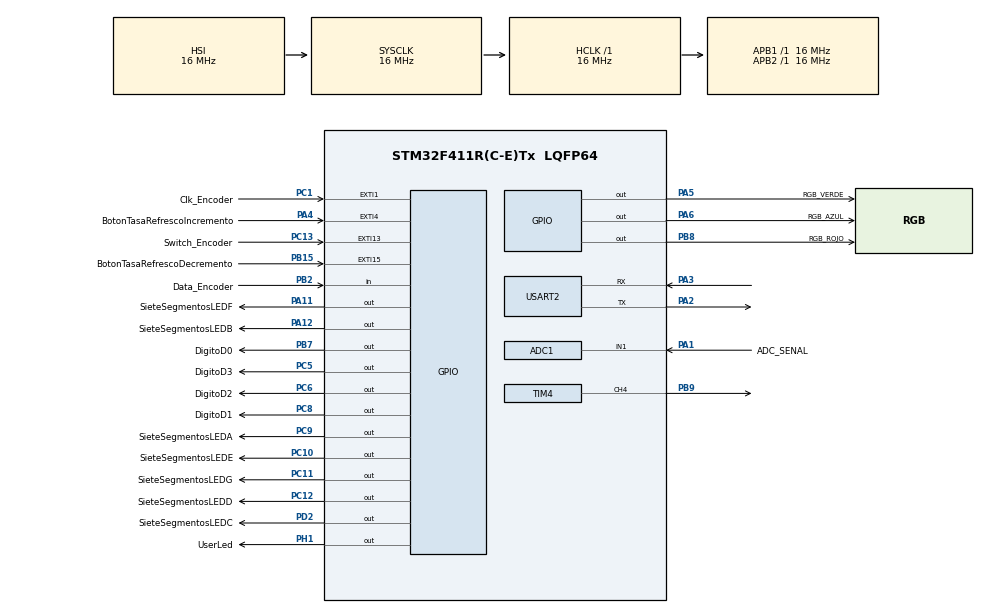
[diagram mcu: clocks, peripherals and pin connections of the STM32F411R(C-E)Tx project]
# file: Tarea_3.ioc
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ADC1.Channel-0\#ChannelRegularConversion=ADC_CHANNEL_1
ADC1.ClockPrescaler=ADC_CLOCK_SYNC_PCLK_DIV2
ADC1.ContinuousConvMode=DISABLE
ADC1.DMAContinuousRequests=ENABLE
ADC1.ExternalTrigConv=ADC_EXTERNALTRIGCONV_T4_CC4
ADC1.ExternalTrigConvEdge=ADC_EXTERNALTRIGCONVEDGE_RISINGFALLING
ADC1.NbrOfConversionFlag=1
ADC1.Rank-0\#ChannelRegularConversion=1
ADC1.SamplingTime-0\#ChannelRegularConversion=ADC_SAMPLETIME_3CYCLES
ADC1.master=1
Dma.ADC1.2.Direction=DMA_PERIPH_TO_MEMORY
Dma.ADC1.2.FIFOMode=DMA_FIFOMODE_DISABLE
Dma.ADC1.2.Instance=DMA2_Stream0
Dma.ADC1.2.MemDataAlignment=DMA_MDATAALIGN_HALFWORD
Dma.ADC1.2.MemInc=DMA_MINC_ENABLE
Dma.ADC1.2.Mode=DMA_CIRCULAR
Dma.ADC1.2.PeriphDataAlignment=DMA_PDATAALIGN_HALFWORD
Dma.ADC1.2.PeriphInc=DMA_PINC_DISABLE
Dma.ADC1.2.Priority=DMA_PRIORITY_LOW
Dma.Request0=USART2_RX
Dma.Request1=USART2_TX
Dma.Request2=ADC1
Dma.USART2_RX.0.Direction=DMA_PERIPH_TO_MEMORY
Dma.USART2_RX.0.FIFOMode=DMA_FIFOMODE_DISABLE
Dma.USART2_RX.0.Instance=DMA1_Stream5
Dma.USART2_RX.0.MemDataAlignment=DMA_MDATAALIGN_BYTE
Dma.USART2_RX.0.MemInc=DMA_MINC_ENABLE
Dma.USART2_RX.0.Mode=DMA_NORMAL
Dma.USART2_RX.0.PeriphDataAlignment=DMA_PDATAALIGN_BYTE
Dma.USART2_RX.0.PeriphInc=DMA_PINC_DISABLE
Dma.USART2_RX.0.Priority=DMA_PRIORITY_LOW
Dma.USART2_TX.1.Direction=DMA_MEMORY_TO_PERIPH
Dma.USART2_TX.1.FIFOMode=DMA_FIFOMODE_DISABLE
Dma.USART2_TX.1.Instance=DMA1_Stream6
Dma.USART2_TX.1.MemDataAlignment=DMA_MDATAALIGN_BYTE
Dma.USART2_TX.1.MemInc=DMA_MINC_ENABLE
Dma.USART2_TX.1.Mode=DMA_NORMAL
Dma.USART2_TX.1.PeriphDataAlignment=DMA_PDATAALIGN_BYTE
Dma.USART2_TX.1.PeriphInc=DMA_PINC_DISABLE
Dma.USART2_TX.1.Priority=DMA_PRIORITY_LOW
Mcu.Family=STM32F4
Mcu.Name=STM32F411R(C-E)Tx
Mcu.Package=LQFP64
NVIC.DMA1_Stream5_IRQn=true\:0\:0\:false\:false\:true\:false\:true\:true
NVIC.DMA1_Stream6_IRQn=true\:0\:0\:false\:false\:true\:false\:true\:true
NVIC.DMA2_Stream0_IRQn=true\:0\:0\:false\:false\:true\:false\:true\:true
NVIC.EXTI15_10_IRQn=true\:0\:0\:false\:false\:true\:true\:true\:true
NVIC.EXTI1_IRQn=true\:0\:0\:false\:false\:true\:true\:true\:true
NVIC.EXTI4_IRQn=true\:0\:0\:false\:false\:true\:true\:true\:true
NVIC.PriorityGroup=NVIC_PRIORITYGROUP_0
NVIC.TIM2_IRQn=true\:0\:0\:false\:false\:true\:true\:true\:true
NVIC.TIM3_IRQn=true\:0\:0\:false\:false\:true\:true\:true\:true
NVIC.USART2_IRQn=true\:0\:0\:false\:false\:true\:true\:true\:true
PA1.GPIO_Label=ADC_SENAL
PA1.Signal=ADCx_IN1
PA11.GPIO_Label=SieteSegmentosLEDF
PA11.Signal=GPIO_Output
PA12.GPIO_Label=SieteSegmentosLEDB
PA12.Signal=GPIO_Output
PA13.GPIO_Label=TMS
PA13.Mode=Serial_Wire
PA13.Signal=SYS_JTMS-SWDIO
PA14.GPIO_Label=TCK
PA14.Mode=Serial_Wire
PA14.Signal=SYS_JTCK-SWCLK
PA2.GPIO_ModeDefaultPP=GPIO_MODE_AF_PP
PA2.GPIO_PuPd=GPIO_NOPULL
PA2.GPIO_Speed=GPIO_SPEED_FREQ_VERY_HIGH
PA2.Mode=Asynchronous
PA2.Signal=USART2_TX
PA3.GPIO_ModeDefaultPP=GPIO_MODE_AF_PP
PA3.GPIO_PuPd=GPIO_NOPULL
PA3.GPIO_Speed=GPIO_SPEED_FREQ_VERY_HIGH
PA3.Mode=Asynchronous
PA3.Signal=USART2_RX
PA4.GPIO_Label=BotonTasaRefrescoIncremento
PA4.GPIO_ModeDefaultEXTI=GPIO_MODE_IT_FALLING
PA4.Signal=GPXTI4
PA5.GPIO_Label=RGB_VERDE
PA5.Signal=GPIO_Output
PA6.GPIO_Label=RGB_AZUL
PA6.GPIO_Speed=GPIO_SPEED_FREQ_MEDIUM
PA6.Signal=GPIO_Output
PB15.GPIO_Label=BotonTasaRefrescoDecremento
PB15.GPIO_ModeDefaultEXTI=GPIO_MODE_IT_FALLING
PB15.Signal=GPXTI15
PB2.GPIO_Label=Data_Encoder
PB2.Signal=GPIO_Input
PB3.GPIO_Label=SWO
PB3.Signal=SYS_JTDO-SWO
PB7.GPIO_Label=DigitoD0
PB7.Signal=GPIO_Output
PB8.GPIO_Label=RGB_ROJO
PB8.Signal=GPIO_Output
PB9.Signal=S_TIM4_CH4
PC1.GPIO_Label=Clk_Encoder
PC1.Signal=GPXTI1
PC10.GPIO_Label=SieteSegmentosLEDE
PC10.Signal=GPIO_Output
PC11.GPIO_Label=SieteSegmentosLEDG
PC11.Signal=GPIO_Output
PC12.GPIO_Label=SieteSegmentosLEDD
PC12.Signal=GPIO_Output
PC13-ANTI_TAMP.GPIO_Label=Switch_Encoder
PC13-ANTI_TAMP.Signal=GPXTI13
PC5.GPIO_Label=DigitoD3
PC5.Signal=GPIO_Output
PC6.GPIO_Label=DigitoD2
PC6.Signal=GPIO_Output
PC8.GPIO_Label=DigitoD1
PC8.Signal=GPIO_Output
PC9.GPIO_Label=SieteSegmentosLEDA
PC9.Signal=GPIO_Output
PD2.GPIO_Label=SieteSegmentosLEDC
PD2.Signal=GPIO_Output
PH1\ -\ OSC_OUT.GPIO_Label=UserLed
PH1\ -\ OSC_OUT.Signal=GPIO_Output
ProjectManager.HeapSize=0x200
ProjectManager.StackSize=0x400
ProjectManager.TargetToolchain=STM32CubeIDE
RCC.AHBFreq_Value=16000000
RCC.APB1Freq_Value=16000000
RCC.APB2Freq_Value=16000000
RCC.CortexFreq_Value=16000000
RCC.HSE_VALUE=25000000
RCC.HSI_VALUE=16000000
RCC.LSE_VALUE=32768
RCC.SYSCLKFreq_VALUE=16000000
RCC.VCOOutputFreq_Value=192000000
SH.ADCx_IN1.0=ADC1_IN1,IN1
SH.S_TIM4_CH4.0=TIM4_CH4,Output Compare4 CH4
TIM2.Period=250-1
TIM2.Prescaler=16000-1
TIM3.Period=5-1
TIM3.Prescaler=16000-1
TIM4.Channel-Output\ Compare4\ CH4=TIM_CHANNEL_4
TIM4.OC4Preload=ENABLE
TIM4.OCMode_4=TIM_OCMODE_TOGGLE
TIM4.Period=363-1
TIM4.Prescaler=0
TIM4.Pulse-Output\ Compare4\ CH4=1
TIM4.TIM_MasterOutputTrigger=TIM_TRGO_OC4REF
USART2.Parity=PARITY_NONE
USART2.VirtualMode=VM_ASYNC
VP_TIM2_VS_ClockSourceINT.Mode=Internal
VP_TIM3_VS_ClockSourceINT.Mode=Internal
VP_TIM4_VS_ClockSourceINT.Mode=Internal
board=NUCLEO-F411RE

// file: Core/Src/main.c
/* USER CODE BEGIN Header */
/**
  ******************************************************************************
  * @file           : main.c
  * @brief          : Main program body
  ******************************************************************************
  * @attention
  *
  * Copyright (c) 2025 STMicroelectronics.
  * All rights reserved.
  *
  * This software is licensed under terms that can be found in the LICENSE file
  * in the root directory of this software component.
  * If no LICENSE file comes with this software, it is provided AS-IS.
  *
  ******************************************************************************
  */
/* USER CODE END Header */
#include "main.h"

/* USER CODE BEGIN Includes */
#include "stdint.h"
#include "string.h"
#include "stdio.h"
#include <stdlib.h>
#define ARM_MATH_CM4	//Definimos esto porque estamos usando el núcleo ARM-Cortex M4
#include "arm_math.h"
#include "stm32f4xx_hal.h"
#include "arm_const_structs.h"
#include "arm_common_tables.h"
/* USER CODE END Includes */

ADC_HandleTypeDef hadc1;
DMA_HandleTypeDef hdma_adc1;

TIM_HandleTypeDef htim2;
TIM_HandleTypeDef htim3;
TIM_HandleTypeDef htim4;

UART_HandleTypeDef huart2;
DMA_HandleTypeDef hdma_usart2_rx;
DMA_HandleTypeDef hdma_usart2_tx;

/* USER CODE BEGIN PV */
State_t Current_State = STATE_REFRESH; 	// Se fija el estado por defecto
RGB_Color_t Current_Color = 0;	//Se fija el estado inicial del LED RGB
uint8_t secuencia_Color = 0; 	//Variable que lleva el contador de la secuencia del LED RGB

// Se define una secuencia de colores para el LED RGB
const uint8_t secuencia_RGB[] = {
	0b0000,											// APAGADO
    RGB_RED_MASK,                  					// ROJO
    RGB_GREEN_MASK,               					// VERDE
    RGB_BLUE_MASK,                					// AZUL
    RGB_BLUE_MASK | RGB_GREEN_MASK,  				// AZUL-VERDE
    RGB_BLUE_MASK | RGB_RED_MASK,    				// AZUL-ROJO
    RGB_RED_MASK  | RGB_GREEN_MASK,  				// ROJO-VERDE
    RGB_RED_MASK  | RGB_GREEN_MASK | RGB_BLUE_MASK 	// ROJO-VERDE-AZUL
};

//Variable que lleva el contador completo del taxímetro
uint16_t contador_Taximetro = 0;
//Variable que lleva el dato del dígito que se enciende en el taxímetro
uint8_t digito = 0;
//Se inicializa una variable que lleva el tiempo en ms que ha pasado desde el inicio
uint32_t contador_Tiempo = 0;

//Variables auxiliares para llevar los digitos que se deben mostrar en el taxímetro
uint8_t miles_contador_Taximetro 	= 0;
uint8_t centenas_contador_Taximetro = 0;
uint8_t decenas_contador_Taximetro 	= 0;
uint8_t unidades_contador_Taximetro = 0;

//Variables auxiliares para la comunciación USART
uint16_t rx_buffer_length = 64;
uint8_t rx_Buffer_A[RX_BUFFER_MAX_LENGTH]; // Buffer de recepción A
uint8_t rx_Buffer_B[RX_BUFFER_MAX_LENGTH]; // Buffer de recepción B

volatile Paquete_Datos paquete_listo = {.buffer = NULL, .size = 0};
volatile BufferActivo buffer_activo_DMA = BUFFER_A;
uint8_t*  rx_buffer;
uint16_t  rx_size;

 uint16_t ADC_Buffer [ADC_BUFFER_MAX_LENGTH]; // Array para almacenar los valores del ADC, provenientes del DMA
ADC_Sampling_Freq_t ARR_timer_4 = LOW;
float32_t ADC_Float_Buffer [ADC_BUFFER_MAX_LENGTH]; 	// Array para almacenar los valores del ADC hechos float
float32_t FFT_Buffer		[ADC_BUFFER_MAX_LENGTH]; 	//Buffer para el output de la FFT
float32_t FFT_Magnitudes 	[ADC_BUFFER_MAX_LENGTH/2];	//Buffer para las magnitudes de la FFT
arm_rfft_fast_instance_f32 rfft_instance; 						//Se crea una instancia que es requerida por la función RFFT
uint16_t fft_Length = ADC_BUFFER_MAX_LENGTH;					//Tamaño de la FFT que se va a realizar, 2048 por defecto
uint8_t esta_activo_ADC = 0;									//Variable auxiliar para saber si el ADC está prendio' o no
uint16_t longitud_ADC = 2048;									//Variable para llevar rastro del tamaño del ADC

//Le asignamos a una variable el mensaje de help, tipo static porque pues, no lo vamos a modificar nunca
static const char help_msg[] =
    "Opciones:\r\n"
    "1.  Toogle LED RGB (RED, BLUE, GREEN):          RGB <color>\r\n"
    "2.  Configurar periodo del Blinky:              Config_Blinky_Period <Period (ms)>\r\n"
    "3.  Configurar tiempo de muestreo:              Config_ADC_Sampling_Freq <Velocidad>\r\n"
	"Velocidad: LOW = 44.1 KHz , MEDIUM = 48 KHz, HIGH = 96 KHz, ULTRA = 128 KHz\r\n"
	"4.  Iniciar ADC:                                Start_ADC\r\n"
	"5.  Detener ADC:                                Stop_ADC\r\n"
	"6.  Imprimir señal ADC (raw):                   Print_ADC\r\n"
    "7.  Configurar tamaño de la FFT:                Config_FFT_Size\r\n"
    "8.  Imprimir espectro FFT:                      Print_FFT\r\n"
    "9.  Imprimir configuración del equipo:          Print_Config\r\n"
    "10. Imprimir valores clave de la FFT:           Print_FFT_Features\r\n";

/* USER CODE END PV */

void SystemClock_Config(void);
static void MX_GPIO_Init(void);
static void MX_DMA_Init(void);
static void MX_USART2_UART_Init(void);
static void MX_TIM2_Init(void);
static void MX_TIM3_Init(void);
static void MX_ADC1_Init(void);
static void MX_TIM4_Init(void);
/* USER CODE BEGIN PFP */
void printHelp(void);
void FSM_update(State_t State);
void start_adc(void);
/* USER CODE END PFP */

int main(void)
{

  /* MCU Configuration--------------------------------------------------------*/

  /* Reset of all peripherals, Initializes the Flash interface and the Systick. */
  HAL_Init();

  /* Configure the system clock */
  SystemClock_Config();

  /* Initialize all configured peripherals */
  MX_GPIO_Init();
  MX_DMA_Init();
  MX_USART2_UART_Init();
  MX_TIM2_Init();
  MX_TIM3_Init();
  MX_ADC1_Init();
  MX_TIM4_Init();
  /* USER CODE BEGIN 2 */
  HAL_TIM_Base_Start_IT(&htim2); 	// Inicia el Timer 2 para interrupciones
  HAL_TIM_Base_Start_IT(&htim3); 	// Inicia el Timer 3 para interrupciones
  HAL_TIM_Base_Start(&htim4); 		// Inicia el Timer 4 para la conversión del ADC

  HAL_GPIO_WritePin(DigitoD0_GPIO_Port, DigitoD0_Pin, GPIO_PIN_SET); // Apagamos todos los digitos para evitar el fantasma
  HAL_GPIO_WritePin(DigitoD1_GPIO_Port, DigitoD1_Pin, GPIO_PIN_SET); // Buuuu
  HAL_GPIO_WritePin(DigitoD2_GPIO_Port, DigitoD2_Pin, GPIO_PIN_SET); // Buuuu
  HAL_GPIO_WritePin(DigitoD3_GPIO_Port, DigitoD3_Pin, GPIO_PIN_SET); // Buuuu

  HAL_UARTEx_ReceiveToIdle_DMA(&huart2, rx_Buffer_A, rx_buffer_length); // Configura la recepción DMA con IDLE

  start_adc();	//ADC encendido por defecto

  arm_rfft_fast_init_f32(&rfft_instance, fft_Length);	//Iniciamos la instancia al incio para no llamarla cada printFFT, Lo haremos con 2048 por defecto
  /* USER CODE END 2 */

  /* Infinite loop */
  while (1){

    /* USER CODE BEGIN 3 */
	  if (paquete_listo.size > 0){
		  // --- DATA IS READY FOR PROCESSING ---
		  // The DMA is now safely filling the *other* buffer.
		  // We can take as long as we need to process the data in
		  // data_ready_packet.buffer without risk of corruption.

		  // First, get a local copy of the pointer and size
		  rx_buffer = paquete_listo.buffer;
		  rx_size = paquete_listo.size;

		  // --- IMPORTANT: Clear the volatile struct to "consume" the data ---
		  // This signals we are done and can accept the next packet.
		  paquete_listo.buffer = NULL;
		  paquete_listo.size = 0;
	  }
	  FSM_update(Current_State); // Llama a la función de actualización del FSM

  }
  /* USER CODE END 3 */
}

void SystemClock_Config(void)
{
  RCC_OscInitTypeDef RCC_OscInitStruct = {0};
  RCC_ClkInitTypeDef RCC_ClkInitStruct = {0};

  /** Configure the main internal regulator output voltage
  */
  __HAL_RCC_PWR_CLK_ENABLE();
  __HAL_PWR_VOLTAGESCALING_CONFIG(PWR_REGULATOR_VOLTAGE_SCALE1);

  /** Initializes the RCC Oscillators according to the specified parameters
  * in the RCC_OscInitTypeDef structure.
  */
  RCC_OscInitStruct.OscillatorType = RCC_OSCILLATORTYPE_HSI;
  RCC_OscInitStruct.HSIState = RCC_HSI_ON;
  RCC_OscInitStruct.HSICalibrationValue = RCC_HSICALIBRATION_DEFAULT;
  RCC_OscInitStruct.PLL.PLLState = RCC_PLL_NONE;
  if (HAL_RCC_OscConfig(&RCC_OscInitStruct) != HAL_OK)
  {
    Error_Handler();
  }

  /** Initializes the CPU, AHB and APB buses clocks
  */
  RCC_ClkInitStruct.ClockType = RCC_CLOCKTYPE_HCLK|RCC_CLOCKTYPE_SYSCLK
                              |RCC_CLOCKTYPE_PCLK1|RCC_CLOCKTYPE_PCLK2;
  RCC_ClkInitStruct.SYSCLKSource = RCC_SYSCLKSOURCE_HSI;
  RCC_ClkInitStruct.AHBCLKDivider = RCC_SYSCLK_DIV1;
  RCC_ClkInitStruct.APB1CLKDivider = RCC_HCLK_DIV1;
  RCC_ClkInitStruct.APB2CLKDivider = RCC_HCLK_DIV1;

  if (HAL_RCC_ClockConfig(&RCC_ClkInitStruct, FLASH_LATENCY_0) != HAL_OK)
  {
    Error_Handler();
  }
}

static void MX_ADC1_Init(void)
{

  ADC_ChannelConfTypeDef sConfig = {0};

  /** Configure the global features of the ADC (Clock, Resolution, Data Alignment and number of conversion)
  */
  hadc1.Instance = ADC1;
  hadc1.Init.ClockPrescaler = ADC_CLOCK_SYNC_PCLK_DIV2;
  hadc1.Init.Resolution = ADC_RESOLUTION_12B;
  hadc1.Init.ScanConvMode = DISABLE;
  hadc1.Init.ContinuousConvMode = DISABLE;
  hadc1.Init.DiscontinuousConvMode = DISABLE;
  hadc1.Init.ExternalTrigConvEdge = ADC_EXTERNALTRIGCONVEDGE_RISINGFALLING;
  hadc1.Init.ExternalTrigConv = ADC_EXTERNALTRIGCONV_T4_CC4;
  hadc1.Init.DataAlign = ADC_DATAALIGN_RIGHT;
  hadc1.Init.NbrOfConversion = 1;
  hadc1.Init.DMAContinuousRequests = ENABLE;
  hadc1.Init.EOCSelection = ADC_EOC_SINGLE_CONV;
  if (HAL_ADC_Init(&hadc1) != HAL_OK)
  {
    Error_Handler();
  }

  /** Configure for the selected ADC regular channel its corresponding rank in the sequencer and its sample time.
  */
  sConfig.Channel = ADC_CHANNEL_1;
  sConfig.Rank = 1;
  sConfig.SamplingTime = ADC_SAMPLETIME_3CYCLES;
  if (HAL_ADC_ConfigChannel(&hadc1, &sConfig) != HAL_OK)
  {
    Error_Handler();
  }

}

static void MX_TIM2_Init(void)
{

  TIM_ClockConfigTypeDef sClockSourceConfig = {0};
  TIM_MasterConfigTypeDef sMasterConfig = {0};

  htim2.Instance = TIM2;
  htim2.Init.Prescaler = 16000-1;
  htim2.Init.CounterMode = TIM_COUNTERMODE_UP;
  htim2.Init.Period = 250-1;
  htim2.Init.ClockDivision = TIM_CLOCKDIVISION_DIV1;
  htim2.Init.AutoReloadPreload = TIM_AUTORELOAD_PRELOAD_DISABLE;
  if (HAL_TIM_Base_Init(&htim2) != HAL_OK)
  {
    Error_Handler();
  }
  sClockSourceConfig.ClockSource = TIM_CLOCKSOURCE_INTERNAL;
  if (HAL_TIM_ConfigClockSource(&htim2, &sClockSourceConfig) != HAL_OK)
  {
    Error_Handler();
  }
  sMasterConfig.MasterOutputTrigger = TIM_TRGO_RESET;
  sMasterConfig.MasterSlaveMode = TIM_MASTERSLAVEMODE_DISABLE;
  if (HAL_TIMEx_MasterConfigSynchronization(&htim2, &sMasterConfig) != HAL_OK)
  {
    Error_Handler();
  }

}

static void MX_TIM3_Init(void)
{

  TIM_ClockConfigTypeDef sClockSourceConfig = {0};
  TIM_MasterConfigTypeDef sMasterConfig = {0};

  htim3.Instance = TIM3;
  htim3.Init.Prescaler = 16000-1;
  htim3.Init.CounterMode = TIM_COUNTERMODE_UP;
  htim3.Init.Period = 5-1;
  htim3.Init.ClockDivision = TIM_CLOCKDIVISION_DIV1;
  htim3.Init.AutoReloadPreload = TIM_AUTORELOAD_PRELOAD_DISABLE;
  if (HAL_TIM_Base_Init(&htim3) != HAL_OK)
  {
    Error_Handler();
  }
  sClockSourceConfig.ClockSource = TIM_CLOCKSOURCE_INTERNAL;
  if (HAL_TIM_ConfigClockSource(&htim3, &sClockSourceConfig) != HAL_OK)
  {
    Error_Handler();
  }
  sMasterConfig.MasterOutputTrigger = TIM_TRGO_RESET;
  sMasterConfig.MasterSlaveMode = TIM_MASTERSLAVEMODE_DISABLE;
  if (HAL_TIMEx_MasterConfigSynchronization(&htim3, &sMasterConfig) != HAL_OK)
  {
    Error_Handler();
  }

}

static void MX_TIM4_Init(void)
{

  TIM_ClockConfigTypeDef sClockSourceConfig = {0};
  TIM_MasterConfigTypeDef sMasterConfig = {0};
  TIM_OC_InitTypeDef sConfigOC = {0};

  htim4.Instance = TIM4;
  htim4.Init.Prescaler = 0;
  htim4.Init.CounterMode = TIM_COUNTERMODE_UP;
  htim4.Init.Period = 363-1;
  htim4.Init.ClockDivision = TIM_CLOCKDIVISION_DIV1;
  htim4.Init.AutoReloadPreload = TIM_AUTORELOAD_PRELOAD_DISABLE;
  if (HAL_TIM_Base_Init(&htim4) != HAL_OK)
  {
    Error_Handler();
  }
  sClockSourceConfig.ClockSource = TIM_CLOCKSOURCE_INTERNAL;
  if (HAL_TIM_ConfigClockSource(&htim4, &sClockSourceConfig) != HAL_OK)
  {
    Error_Handler();
  }
  if (HAL_TIM_OC_Init(&htim4) != HAL_OK)
  {
    Error_Handler();
  }
  sMasterConfig.MasterOutputTrigger = TIM_TRGO_OC4REF;
  sMasterConfig.MasterSlaveMode = TIM_MASTERSLAVEMODE_DISABLE;
  if (HAL_TIMEx_MasterConfigSynchronization(&htim4, &sMasterConfig) != HAL_OK)
  {
    Error_Handler();
  }
  sConfigOC.OCMode = TIM_OCMODE_TOGGLE;
  sConfigOC.Pulse = 1;
  sConfigOC.OCPolarity = TIM_OCPOLARITY_HIGH;
  sConfigOC.OCFastMode = TIM_OCFAST_DISABLE;
  if (HAL_TIM_OC_ConfigChannel(&htim4, &sConfigOC, TIM_CHANNEL_4) != HAL_OK)
  {
    Error_Handler();
  }
  __HAL_TIM_ENABLE_OCxPRELOAD(&htim4, TIM_CHANNEL_4);
  HAL_TIM_MspPostInit(&htim4);

}

static void MX_USART2_UART_Init(void)
{

  huart2.Instance = USART2;
  huart2.Init.BaudRate = 115200;
  huart2.Init.WordLength = UART_WORDLENGTH_8B;
  huart2.Init.StopBits = UART_STOPBITS_1;
  huart2.Init.Parity = UART_PARITY_NONE;
  huart2.Init.Mode = UART_MODE_TX_RX;
  huart2.Init.HwFlowCtl = UART_HWCONTROL_NONE;
  huart2.Init.OverSampling = UART_OVERSAMPLING_16;
  if (HAL_UART_Init(&huart2) != HAL_OK)
  {
    Error_Handler();
  }

}

static void MX_DMA_Init(void)
{

  /* DMA controller clock enable */
  __HAL_RCC_DMA1_CLK_ENABLE();
  __HAL_RCC_DMA2_CLK_ENABLE();

  /* DMA interrupt init */
  /* DMA1_Stream5_IRQn interrupt configuration */
  HAL_NVIC_SetPriority(DMA1_Stream5_IRQn, 0, 0);
  HAL_NVIC_EnableIRQ(DMA1_Stream5_IRQn);
  /* DMA1_Stream6_IRQn interrupt configuration */
  HAL_NVIC_SetPriority(DMA1_Stream6_IRQn, 0, 0);
  HAL_NVIC_EnableIRQ(DMA1_Stream6_IRQn);
  /* DMA2_Stream0_IRQn interrupt configuration */
  HAL_NVIC_SetPriority(DMA2_Stream0_IRQn, 0, 0);
  HAL_NVIC_EnableIRQ(DMA2_Stream0_IRQn);

}

static void MX_GPIO_Init(void)
{
  GPIO_InitTypeDef GPIO_InitStruct = {0};

  /* GPIO Ports Clock Enable */
  __HAL_RCC_GPIOC_CLK_ENABLE();
  __HAL_RCC_GPIOH_CLK_ENABLE();
  __HAL_RCC_GPIOA_CLK_ENABLE();
  __HAL_RCC_GPIOB_CLK_ENABLE();
  __HAL_RCC_GPIOD_CLK_ENABLE();

  /*Configure GPIO pin Output Level */
  HAL_GPIO_WritePin(UserLed_GPIO_Port, UserLed_Pin, GPIO_PIN_RESET);

  /*Configure GPIO pin Output Level */
  HAL_GPIO_WritePin(GPIOA, RGB_VERDE_Pin|RGB_AZUL_Pin|SieteSegmentosLEDF_Pin|SieteSegmentosLEDB_Pin, GPIO_PIN_RESET);

  /*Configure GPIO pin Output Level */
  HAL_GPIO_WritePin(GPIOC, DigitoD3_Pin|DigitoD2_Pin|DigitoD1_Pin|SieteSegmentosLEDA_Pin
                          |SieteSegmentosLEDE_Pin|SieteSegmentosLEDG_Pin|SieteSegmentosLEDD_Pin, GPIO_PIN_RESET);

  /*Configure GPIO pin Output Level */
  HAL_GPIO_WritePin(SieteSegmentosLEDC_GPIO_Port, SieteSegmentosLEDC_Pin, GPIO_PIN_RESET);

  /*Configure GPIO pin Output Level */
  HAL_GPIO_WritePin(GPIOB, DigitoD0_Pin|RGB_ROJO_Pin, GPIO_PIN_RESET);

  /*Configure GPIO pins : Switch_Encoder_Pin Clk_Encoder_Pin */
  GPIO_InitStruct.Pin = Switch_Encoder_Pin|Clk_Encoder_Pin;
  GPIO_InitStruct.Mode = GPIO_MODE_IT_RISING;
  GPIO_InitStruct.Pull = GPIO_NOPULL;
  HAL_GPIO_Init(GPIOC, &GPIO_InitStruct);

  /*Configure GPIO pin : UserLed_Pin */
  GPIO_InitStruct.Pin = UserLed_Pin;
  GPIO_InitStruct.Mode = GPIO_MODE_OUTPUT_PP;
  GPIO_InitStruct.Pull = GPIO_NOPULL;
  GPIO_InitStruct.Speed = GPIO_SPEED_FREQ_LOW;
  HAL_GPIO_Init(UserLed_GPIO_Port, &GPIO_InitStruct);

  /*Configure GPIO pin : BotonTasaRefrescoIncremento_Pin */
  GPIO_InitStruct.Pin = BotonTasaRefrescoIncremento_Pin;
  GPIO_InitStruct.Mode = GPIO_MODE_IT_FALLING;
  GPIO_InitStruct.Pull = GPIO_NOPULL;
  HAL_GPIO_Init(BotonTasaRefrescoIncremento_GPIO_Port, &GPIO_InitStruct);

  /*Configure GPIO pins : RGB_VERDE_Pin SieteSegmentosLEDF_Pin SieteSegmentosLEDB_Pin */
  GPIO_InitStruct.Pin = RGB_VERDE_Pin|SieteSegmentosLEDF_Pin|SieteSegmentosLEDB_Pin;
  GPIO_InitStruct.Mode = GPIO_MODE_OUTPUT_PP;
  GPIO_InitStruct.Pull = GPIO_NOPULL;
  GPIO_InitStruct.Speed = GPIO_SPEED_FREQ_LOW;
  HAL_GPIO_Init(GPIOA, &GPIO_InitStruct);

  /*Configure GPIO pin : RGB_AZUL_Pin */
  GPIO_InitStruct.Pin = RGB_AZUL_Pin;
  GPIO_InitStruct.Mode = GPIO_MODE_OUTPUT_PP;
  GPIO_InitStruct.Pull = GPIO_NOPULL;
  GPIO_InitStruct.Speed = GPIO_SPEED_FREQ_MEDIUM;
  HAL_GPIO_Init(RGB_AZUL_GPIO_Port, &GPIO_InitStruct);

  /*Configure GPIO pins : DigitoD3_Pin DigitoD2_Pin DigitoD1_Pin SieteSegmentosLEDA_Pin
                           SieteSegmentosLEDE_Pin SieteSegmentosLEDG_Pin SieteSegmentosLEDD_Pin */
  GPIO_InitStruct.Pin = DigitoD3_Pin|DigitoD2_Pin|DigitoD1_Pin|SieteSegmentosLEDA_Pin
                          |SieteSegmentosLEDE_Pin|SieteSegmentosLEDG_Pin|SieteSegmentosLEDD_Pin;
  GPIO_InitStruct.Mode = GPIO_MODE_OUTPUT_PP;
  GPIO_InitStruct.Pull = GPIO_NOPULL;
  GPIO_InitStruct.Speed = GPIO_SPEED_FREQ_LOW;
  HAL_GPIO_Init(GPIOC, &GPIO_InitStruct);

  /*Configure GPIO pin : Data_Encoder_Pin */
  GPIO_InitStruct.Pin = Data_Encoder_Pin;
  GPIO_InitStruct.Mode = GPIO_MODE_INPUT;
  GPIO_InitStruct.Pull = GPIO_NOPULL;
  HAL_GPIO_Init(Data_Encoder_GPIO_Port, &GPIO_InitStruct);

  /*Configure GPIO pin : BotonTasaRefrescoDecremento_Pin */
  GPIO_InitStruct.Pin = BotonTasaRefrescoDecremento_Pin;
  GPIO_InitStruct.Mode = GPIO_MODE_IT_FALLING;
  GPIO_InitStruct.Pull = GPIO_NOPULL;
  HAL_GPIO_Init(BotonTasaRefrescoDecremento_GPIO_Port, &GPIO_InitStruct);

  /*Configure GPIO pin : SieteSegmentosLEDC_Pin */
  GPIO_InitStruct.Pin = SieteSegmentosLEDC_Pin;
  GPIO_InitStruct.Mode = GPIO_MODE_OUTPUT_PP;
  GPIO_InitStruct.Pull = GPIO_NOPULL;
  GPIO_InitStruct.Speed = GPIO_SPEED_FREQ_LOW;
  HAL_GPIO_Init(SieteSegmentosLEDC_GPIO_Port, &GPIO_InitStruct);

  /*Configure GPIO pins : DigitoD0_Pin RGB_ROJO_Pin */
  GPIO_InitStruct.Pin = DigitoD0_Pin|RGB_ROJO_Pin;
  GPIO_InitStruct.Mode = GPIO_MODE_OUTPUT_PP;
  GPIO_InitStruct.Pull = GPIO_NOPULL;
  GPIO_InitStruct.Speed = GPIO_SPEED_FREQ_LOW;
  HAL_GPIO_Init(GPIOB, &GPIO_InitStruct);

  /* EXTI interrupt init*/
  HAL_NVIC_SetPriority(EXTI1_IRQn, 0, 0);
  HAL_NVIC_EnableIRQ(EXTI1_IRQn);

  HAL_NVIC_SetPriority(EXTI4_IRQn, 0, 0);
  HAL_NVIC_EnableIRQ(EXTI4_IRQn);

  HAL_NVIC_SetPriority(EXTI15_10_IRQn, 0, 0);
  HAL_NVIC_EnableIRQ(EXTI15_10_IRQn);

  /* USER CODE BEGIN MX_GPIO_Init_2 */
  // Para EXTI0 (PC0)
  HAL_NVIC_SetPriority(EXTI0_IRQn, 0, 0);
  HAL_NVIC_EnableIRQ(EXTI0_IRQn);

  // Para EXTI1 (PC1)
  HAL_NVIC_SetPriority(EXTI1_IRQn, 0, 0);
  HAL_NVIC_EnableIRQ(EXTI1_IRQn);

  // Para EXTI4 (PA4)
  HAL_NVIC_SetPriority(EXTI4_IRQn, 0, 0);
  HAL_NVIC_EnableIRQ(EXTI4_IRQn);

  // Para EXTI15_10 (PB15)
  HAL_NVIC_SetPriority(EXTI15_10_IRQn, 0, 0);
  HAL_NVIC_EnableIRQ(EXTI15_10_IRQn);
  /* USER CODE END MX_GPIO_Init_2 */
}

/* USER CODE BEGIN 4 */

void setNumeroSieteSegmentos(uint8_t numero){
	switch (numero){
		case 0:
			HAL_GPIO_WritePin(SieteSegmentosLEDA_GPIO_Port, SieteSegmentosLEDA_Pin, GPIO_PIN_RESET);
			HAL_GPIO_WritePin(SieteSegmentosLEDB_GPIO_Port, SieteSegmentosLEDB_Pin, GPIO_PIN_RESET);
			HAL_GPIO_WritePin(SieteSegmentosLEDC_GPIO_Port, SieteSegmentosLEDC_Pin, GPIO_PIN_RESET);
			HAL_GPIO_WritePin(SieteSegmentosLEDD_GPIO_Port, SieteSegmentosLEDD_Pin, GPIO_PIN_RESET);
			HAL_GPIO_WritePin(SieteSegmentosLEDE_GPIO_Port, SieteSegmentosLEDE_Pin, GPIO_PIN_RESET);
			HAL_GPIO_WritePin(SieteSegmentosLEDF_GPIO_Port, SieteSegmentosLEDF_Pin, GPIO_PIN_RESET);
			HAL_GPIO_WritePin(SieteSegmentosLEDG_GPIO_Port, SieteSegmentosLEDG_Pin, GPIO_PIN_SET);
			break;
		case 1:
			HAL_GPIO_WritePin(SieteSegmentosLEDA_GPIO_Port, SieteSegmentosLEDA_Pin, GPIO_PIN_SET);
			HAL_GPIO_WritePin(SieteSegmentosLEDB_GPIO_Port, SieteSegmentosLEDB_Pin, GPIO_PIN_RESET);
			HAL_GPIO_WritePin(SieteSegmentosLEDC_GPIO_Port, SieteSegmentosLEDC_Pin, GPIO_PIN_RESET);
			HAL_GPIO_WritePin(SieteSegmentosLEDD_GPIO_Port, SieteSegmentosLEDD_Pin, GPIO_PIN_SET);
			HAL_GPIO_WritePin(SieteSegmentosLEDE_GPIO_Port, SieteSegmentosLEDE_Pin, GPIO_PIN_SET);
			HAL_GPIO_WritePin(SieteSegmentosLEDF_GPIO_Port, SieteSegmentosLEDF_Pin, GPIO_PIN_SET);
			HAL_GPIO_WritePin(SieteSegmentosLEDG_GPIO_Port, SieteSegmentosLEDG_Pin, GPIO_PIN_SET);
			break;
		case 2:
			HAL_GPIO_WritePin(SieteSegmentosLEDA_GPIO_Port, SieteSegmentosLEDA_Pin, GPIO_PIN_RESET);
			HAL_GPIO_WritePin(SieteSegmentosLEDB_GPIO_Port, SieteSegmentosLEDB_Pin, GPIO_PIN_RESET);
			HAL_GPIO_WritePin(SieteSegmentosLEDC_GPIO_Port, SieteSegmentosLEDC_Pin, GPIO_PIN_SET);
			HAL_GPIO_WritePin(SieteSegmentosLEDD_GPIO_Port, SieteSegmentosLEDD_Pin, GPIO_PIN_RESET);
			HAL_GPIO_WritePin(SieteSegmentosLEDE_GPIO_Port, SieteSegmentosLEDE_Pin, GPIO_PIN_RESET);
			HAL_GPIO_WritePin(SieteSegmentosLEDF_GPIO_Port, SieteSegmentosLEDF_Pin, GPIO_PIN_SET);
			HAL_GPIO_WritePin(SieteSegmentosLEDG_GPIO_Port, SieteSegmentosLEDG_Pin, GPIO_PIN_RESET);
			break;
		case 3:
			HAL_GPIO_WritePin(SieteSegmentosLEDA_GPIO_Port, SieteSegmentosLEDA_Pin, GPIO_PIN_RESET);
			HAL_GPIO_WritePin(SieteSegmentosLEDB_GPIO_Port, SieteSegmentosLEDB_Pin, GPIO_PIN_RESET);
			HAL_GPIO_WritePin(SieteSegmentosLEDC_GPIO_Port, SieteSegmentosLEDC_Pin, GPIO_PIN_RESET);
			HAL_GPIO_WritePin(SieteSegmentosLEDD_GPIO_Port, SieteSegmentosLEDD_Pin, GPIO_PIN_RESET);
			HAL_GPIO_WritePin(SieteSegmentosLEDE_GPIO_Port, SieteSegmentosLEDE_Pin, GPIO_PIN_SET);
			HAL_GPIO_WritePin(SieteSegmentosLEDF_GPIO_Port, SieteSegmentosLEDF_Pin, GPIO_PIN_SET);
			HAL_GPIO_WritePin(SieteSegmentosLEDG_GPIO_Port, SieteSegmentosLEDG_Pin, GPIO_PIN_RESET);
			break;
		case 4:
			HAL_GPIO_WritePin(SieteSegmentosLEDA_GPIO_Port, SieteSegmentosLEDA_Pin, GPIO_PIN_SET);
			HAL_GPIO_WritePin(SieteSegmentosLEDB_GPIO_Port, SieteSegmentosLEDB_Pin, GPIO_PIN_RESET);
			HAL_GPIO_WritePin(SieteSegmentosLEDC_GPIO_Port, SieteSegmentosLEDC_Pin, GPIO_PIN_RESET);
			HAL_GPIO_WritePin(SieteSegmentosLEDD_GPIO_Port, SieteSegmentosLEDD_Pin, GPIO_PIN_SET);
			HAL_GPIO_WritePin(SieteSegmentosLEDE_GPIO_Port, SieteSegmentosLEDE_Pin, GPIO_PIN_SET);
			HAL_GPIO_WritePin(SieteSegmentosLEDF_GPIO_Port, SieteSegmentosLEDF_Pin, GPIO_PIN_RESET);
			HAL_GPIO_WritePin(SieteSegmentosLEDG_GPIO_Port, SieteSegmentosLEDG_Pin, GPIO_PIN_RESET);
			break;
		case 5:
			HAL_GPIO_WritePin(SieteSegmentosLEDA_GPIO_Port, SieteSegmentosLEDA_Pin, GPIO_PIN_RESET);
			HAL_GPIO_WritePin(SieteSegmentosLEDB_GPIO_Port, SieteSegmentosLEDB_Pin, GPIO_PIN_SET);
			HAL_GPIO_WritePin(SieteSegmentosLEDC_GPIO_Port, SieteSegmentosLEDC_Pin, GPIO_PIN_RESET);
			HAL_GPIO_WritePin(SieteSegmentosLEDD_GPIO_Port, SieteSegmentosLEDD_Pin, GPIO_PIN_RESET);
			HAL_GPIO_WritePin(SieteSegmentosLEDE_GPIO_Port, SieteSegmentosLEDE_Pin, GPIO_PIN_SET);
			HAL_GPIO_WritePin(SieteSegmentosLEDF_GPIO_Port, SieteSegmentosLEDF_Pin, GPIO_PIN_RESET);
			HAL_GPIO_WritePin(SieteSegmentosLEDG_GPIO_Port, SieteSegmentosLEDG_Pin, GPIO_PIN_RESET);
			break;
		case 6:
			HAL_GPIO_WritePin(SieteSegmentosLEDA_GPIO_Port, SieteSegmentosLEDA_Pin, GPIO_PIN_RESET);
			HAL_GPIO_WritePin(SieteSegmentosLEDB_GPIO_Port, SieteSegmentosLEDB_Pin, GPIO_PIN_SET);
			HAL_GPIO_WritePin(SieteSegmentosLEDC_GPIO_Port, SieteSegmentosLEDC_Pin, GPIO_PIN_RESET);
			HAL_GPIO_WritePin(SieteSegmentosLEDD_GPIO_Port, SieteSegmentosLEDD_Pin, GPIO_PIN_RESET);
			HAL_GPIO_WritePin(SieteSegmentosLEDE_GPIO_Port, SieteSegmentosLEDE_Pin, GPIO_PIN_RESET);
			HAL_GPIO_WritePin(SieteSegmentosLEDF_GPIO_Port, SieteSegmentosLEDF_Pin, GPIO_PIN_RESET);
			HAL_GPIO_WritePin(SieteSegmentosLEDG_GPIO_Port, SieteSegmentosLEDG_Pin, GPIO_PIN_RESET);
			break;
		case 7:
			HAL_GPIO_WritePin(SieteSegmentosLEDA_GPIO_Port, SieteSegmentosLEDA_Pin, GPIO_PIN_RESET);
			HAL_GPIO_WritePin(SieteSegmentosLEDB_GPIO_Port, SieteSegmentosLEDB_Pin, GPIO_PIN_RESET);
			HAL_GPIO_WritePin(SieteSegmentosLEDC_GPIO_Port, SieteSegmentosLEDC_Pin, GPIO_PIN_RESET);
			HAL_GPIO_WritePin(SieteSegmentosLEDD_GPIO_Port, SieteSegmentosLEDD_Pin, GPIO_PIN_SET);
			HAL_GPIO_WritePin(SieteSegmentosLEDE_GPIO_Port, SieteSegmentosLEDE_Pin, GPIO_PIN_SET);
			HAL_GPIO_WritePin(SieteSegmentosLEDF_GPIO_Port, SieteSegmentosLEDF_Pin, GPIO_PIN_SET);
			HAL_GPIO_WritePin(SieteSegmentosLEDG_GPIO_Port, SieteSegmentosLEDG_Pin, GPIO_PIN_SET);
			break;
		case 8:
			HAL_GPIO_WritePin(SieteSegmentosLEDA_GPIO_Port, SieteSegmentosLEDA_Pin, GPIO_PIN_RESET);
			HAL_GPIO_WritePin(SieteSegmentosLEDB_GPIO_Port, SieteSegmentosLEDB_Pin, GPIO_PIN_RESET);
			HAL_GPIO_WritePin(SieteSegmentosLEDC_GPIO_Port, SieteSegmentosLEDC_Pin, GPIO_PIN_RESET);
			HAL_GPIO_WritePin(SieteSegmentosLEDD_GPIO_Port, SieteSegmentosLEDD_Pin, GPIO_PIN_RESET);
			HAL_GPIO_WritePin(SieteSegmentosLEDE_GPIO_Port, SieteSegmentosLEDE_Pin, GPIO_PIN_RESET);
			HAL_GPIO_WritePin(SieteSegmentosLEDF_GPIO_Port, SieteSegmentosLEDF_Pin, GPIO_PIN_RESET);
			HAL_GPIO_WritePin(SieteSegmentosLEDG_GPIO_Port, SieteSegmentosLEDG_Pin, GPIO_PIN_RESET);
			break;
		case 9:
			HAL_GPIO_WritePin(SieteSegmentosLEDA_GPIO_Port, SieteSegmentosLEDA_Pin, GPIO_PIN_RESET);
			HAL_GPIO_WritePin(SieteSegmentosLEDB_GPIO_Port, SieteSegmentosLEDB_Pin, GPIO_PIN_RESET);
			HAL_GPIO_WritePin(SieteSegmentosLEDC_GPIO_Port, SieteSegmentosLEDC_Pin, GPIO_PIN_RESET);
			HAL_GPIO_WritePin(SieteSegmentosLEDD_GPIO_Port, SieteSegmentosLEDD_Pin, GPIO_PIN_RESET);
			HAL_GPIO_WritePin(SieteSegmentosLEDE_GPIO_Port, SieteSegmentosLEDE_Pin, GPIO_PIN_SET);
			HAL_GPIO_WritePin(SieteSegmentosLEDF_GPIO_Port, SieteSegmentosLEDF_Pin, GPIO_PIN_RESET);
			HAL_GPIO_WritePin(SieteSegmentosLEDG_GPIO_Port, SieteSegmentosLEDG_Pin, GPIO_PIN_RESET);
			break;
	}
}

void separarContador(void){
	/*
	 * Esta función asigna a estas variables el número correspondiente para que pueda mostrarse
	 * el número adecuado en el taxímetro
	 */
	miles_contador_Taximetro = contador_Taximetro / 1000;
	centenas_contador_Taximetro = (contador_Taximetro % 1000) / 100;
	decenas_contador_Taximetro = (contador_Taximetro % 100) / 10;
	unidades_contador_Taximetro = contador_Taximetro % 10;
}

void displaySieteSegmentos(uint8_t digito){
	switch (digito){
		case 0 :{
			HAL_GPIO_WritePin(DigitoD3_GPIO_Port, DigitoD3_Pin, GPIO_PIN_SET);   			//Se desactiva el dígito anterior
			setNumeroSieteSegmentos(unidades_contador_Taximetro);	//Se asigna el número correspondiente a las unidades
			HAL_GPIO_WritePin(DigitoD0_GPIO_Port, DigitoD0_Pin, GPIO_PIN_RESET);			//Se muestra el número en el dígito 0
			break;
		}case 1:{
			HAL_GPIO_WritePin(DigitoD0_GPIO_Port, DigitoD0_Pin, GPIO_PIN_SET);				//Se desactiva el digito anterior
			setNumeroSieteSegmentos(decenas_contador_Taximetro);	//Se asigna el número correspondiente a las decenas
			HAL_GPIO_WritePin(DigitoD1_GPIO_Port, DigitoD1_Pin, GPIO_PIN_RESET);			//Se muestra el número en el dígito 1
			break;
		}case 2:{
			HAL_GPIO_WritePin(DigitoD1_GPIO_Port, DigitoD1_Pin, GPIO_PIN_SET);				//Se desactiva el digito anterior
			setNumeroSieteSegmentos(centenas_contador_Taximetro);	//Se asigna el número correspondiente a las centenas
			HAL_GPIO_WritePin(DigitoD2_GPIO_Port, DigitoD2_Pin, GPIO_PIN_RESET);			//Se muestra el número en el dígito 2
			break;
		}case 3:{
			HAL_GPIO_WritePin(DigitoD2_GPIO_Port, DigitoD2_Pin, GPIO_PIN_SET);				//Se desactiva el digito anterior
			setNumeroSieteSegmentos(miles_contador_Taximetro);		//Se asigna el número correspondiente a los miles
			HAL_GPIO_WritePin(DigitoD3_GPIO_Port, DigitoD3_Pin, GPIO_PIN_RESET);			//Se muestra el número en el dígito 3
			break;
		}
	}
}

void actualizar_RGB(uint8_t estado_RGB){
	//Esta función aplica el color actual del LED RGB
	//Se hace una verificación de los bits del estado_RGB para encender o apagar los LEDs correspondientes
	HAL_GPIO_WritePin(RGB_ROJO_GPIO_Port	, RGB_ROJO_Pin	, (estado_RGB & RGB_RED_MASK) 	? GPIO_PIN_SET:GPIO_PIN_RESET); //Enciende o apaga el LED ROJO con el operador ternario, |Cine|
	HAL_GPIO_WritePin(RGB_VERDE_GPIO_Port	, RGB_VERDE_Pin	, (estado_RGB & RGB_GREEN_MASK) ? GPIO_PIN_SET:GPIO_PIN_RESET); //Enciende o apaga el LED VERDE con el operador ternario, |Cine|
	HAL_GPIO_WritePin(RGB_AZUL_GPIO_Port	, RGB_AZUL_Pin	, (estado_RGB & RGB_BLUE_MASK) 	? GPIO_PIN_SET:GPIO_PIN_RESET); //Enciende o apaga el LED AZUL con el operador ternario, |Cine|
}

void printhelp(void){
	//Esta función imprime el menú de opciones en el terminal
	HAL_UART_Transmit_DMA(&huart2, (uint8_t *)help_msg,strlen(help_msg));
	Current_State = STATE_REFRESH; //Se vuelve al estado de REFRESCO
}

void rgb_modify(const char *argumento){

	if (strcmp(argumento, "RED") == 0){
		//Si el argumento es "RED", se hace toogle al LED ROJO
		Current_Color ^= RGB_RED_MASK;
	}if (strcmp(argumento, "GREEN") == 0){
		//Si el argumento es "GREEN", se hace toogle LED VERDE
		Current_Color ^= RGB_GREEN_MASK;
	}if (strcmp(argumento, "BLUE") == 0){
		//Si el argumento es "BLUE", se hace toogle LED AZUL
		Current_Color ^= RGB_BLUE_MASK;
	}
	secuencia_Color = Current_Color; //Se guarda el color actual en la secuencia de colores
	Current_State = STATE_RGB_FEEDBACK; //Se cambia el estado a STATE_RGB_FEEDBACK
}

void config_blinky(const char *argumento){
	//Esta función configura el periodo del blinky
	uint32_t nuevo_periodo = atoi(argumento);			//Convierte el argumento a un entero
	if(nuevo_periodo > 0 && nuevo_periodo <= 65536){ 	//Verifica que el periodo esté en el rango permitido
		HAL_TIM_Base_Stop_IT(&htim2); 						//Detiene el timer para poder configurarlo
		htim2.Init.Period = nuevo_periodo - 1; 			//Actualiza el periodo del timer
		HAL_TIM_Base_Init(&htim2); 						//Se carga la configuración del timer con el nuevo periodo
		HAL_TIM_Base_Start_IT(&htim2); 					//Inicia el timer con interrupciones
		const char *msg = "Periodo del blinky configurado correctamente.\n";
		HAL_UART_Transmit_DMA(&huart2, (uint8_t *)msg, strlen(msg));
	}else{
		const char *error_msg = "Periodo inválido. Debe estar entre 1 y 65536 ms.\n";
		HAL_UART_Transmit_DMA(&huart2, (uint8_t *)error_msg, strlen(error_msg));
	}
	Current_State = STATE_REFRESH; //Se vuelve al estado de REFRESCO
}

ADC_Sampling_Freq_t get_adc_sampling_freq_enum(const char *str) {
	// Se usará esta función para convertir el string a un enum para obtener la frecuencia de muestreo del ADC
    if (strcmp(str, "LOW") == 0) return LOW;
    else if (strcmp(str, "MEDIUM") == 0) return MEDIUM;
    else if (strcmp(str, "HIGH") == 0) return HIGH;
    else if (strcmp(str, "ULTRA") == 0) return ULTRA;
    else return 0; // Valor por defecto si no coincide con ninguno
}

void cfg_adc_sampling_freq(const char *argumento){
	ARR_timer_4 = get_adc_sampling_freq_enum(argumento); // Convierte el argumento a un enum adecuado
	if(ARR_timer_4 == 0){
		HAL_UART_Transmit_DMA(&huart2, (uint8_t *)"Frecuencia de muestreo inválida. Debe ser LOW, MEDIUM, HIGH o ULTRA.\n", strlen("Frecuencia de muestreo inválida. Debe ser LOW, MEDIUM, HIGH o ULTRA.\n"));
		Current_State = STATE_REFRESH; // Se vuelve al estado de REFRESCO
		return; // Sale de la función si el argumento es inválido
	}
	HAL_TIM_Base_Stop(&htim4); 				// Detiene el timer para poder configurarlo
	HAL_TIM_OC_Stop(&htim4, TIM_CHANNEL_4); 	// Detiene el canal Output Compare
	htim4.Init.Period = ADC_Sampling_Freq[ARR_timer_4-1] - 1; // Actualiza el periodo del timer
	HAL_TIM_Base_Init(&htim4); 					// Se carga la configuración del timer con el nuevo periodo
	HAL_TIM_Base_Start(&htim4); 				// Inicia el timer
	HAL_TIM_OC_Start(&htim4, TIM_CHANNEL_4); 	// Inicia el canal Output Compare
	HAL_UART_Transmit_DMA(&huart2, (uint8_t *)"Frecuencia de muestreo configurada correctamente\n",strlen("Frecuencia de muestreo configurada correctamente\n"));
	Current_State = STATE_REFRESH; 				// Se vuelve al estado de REFRESCO
}

void print_adc(void){
	Current_State = STATE_REFRESH; //Se vuelve al estado de REFRESCO Marranada
	char aux_buffer [128];	//Buffer temporal
	for(uint16_t i = 0; i < longitud_ADC ; i++){
		float ADC_Voltaje =(ADC_Buffer[i]*3.3f/4095);
		int aux = sprintf(&aux_buffer[0], "%.3f\r\n", ADC_Voltaje);
		HAL_UART_Transmit(&huart2, (uint8_t *)&aux_buffer, aux,100);
		//Marranada para que funcione mejor
		FSM_update(Current_State);
	}
}

void start_adc(void){
	if (esta_activo_ADC == 0){
		HAL_TIM_OC_Start(&htim4, TIM_CHANNEL_4); 	// Inicia el canal Output Compare
		HAL_ADC_Start_DMA(&hadc1, (uint32_t*)ADC_Buffer, ADC_BUFFER_MAX_LENGTH); // Inicia el ADC en modo DMA
		HAL_ADC_Start_DMA(&hadc1, (uint32_t*)ADC_Buffer, ADC_BUFFER_MAX_LENGTH); //Otra vez pa que funcione, la mala para el ADC
	}
	esta_activo_ADC = 1;						//El ADC está activo y empieza a funcionar
    Current_State = STATE_REFRESH; 				//Se vuelve al estado de REFRESCO
}

void stop_adc(void){
	if(esta_activo_ADC == 1){
		HAL_TIM_OC_Stop(&htim4, TIM_CHANNEL_4); 	// Detiene el canal Output Compare
		HAL_ADC_Stop_DMA(&hadc1); 					// Detiene el ADC en modo DMA
	}
	esta_activo_ADC = 0;
	Current_State = STATE_REFRESH; 				//Se vuelve al estado de REFRESCO
}

void convertir_uint16_to_float32(uint16_t* pOrigen, float32_t* pDestino, uint32_t buffer_length){
	const float32_t conversion_factor = 1.0f / (float32_t)ADC_MAX_VALUE;

    for (uint32_t i = 0; i < buffer_length; i++) {
        // Normalizamos a los valores [0.0, 1.0] y convertimos a float cada uno de los valores
    	pDestino[i] = ((float32_t)pOrigen[i]) * conversion_factor;
    }
}

void print_config(void){
	/*
	 * Esta función imprime la configuración del equipo
	 */
	float tasa_muestreo = 44.1;
	if(ARR_timer_4 == MEDIUM){
		tasa_muestreo = 48;
	}else if(ARR_timer_4 == HIGH){
		tasa_muestreo = 96;
	}else if(ARR_timer_4 == ULTRA){
		tasa_muestreo = 128;
	}

	char config[512];
	sprintf(config,
	    "Tasa de Muestreo:      %.1f   kHz\n"
	    "Tamano FFT:            %u   index\n"
	    "Tamano Buffer ADC:     %u   index\n"
	    "TIM2 Prescaler:        %u   \n"
	    "TIM2 Period:           %u   \n"
	    "TIM3 Prescaler:        %u   \n"
	    "TIM3 Period:           %u   \n"
	    "TIM4 Prescaler:        %u   \n"
	    "TIM4 Period:           %u   \n",
	    tasa_muestreo,              // uint16_t
	    fft_Length,                 // uint16_t
	    longitud_ADC,      		// uint16_t
	    (uint16_t )TIM2->PSC,   // uint32_t
	    (uint16_t)TIM2->ARR,   // uint32_t
	    (uint16_t)TIM3->PSC,   // uint32_t
	    (uint16_t)TIM3->ARR,   // uint32_t
	    (uint16_t)TIM4->PSC,   // uint32_t
	    (uint16_t)TIM4->ARR    // uint32_t
	);
	HAL_UART_Transmit_DMA(&huart2, (uint8_t *)config,strlen(config));
	Current_State = STATE_REFRESH;
}

void perform_fft(void) {
	if (esta_activo_ADC == 0){	//El buffer de ADC no está activo, necesitamos que recolecte datos para hacer la FFT
		const char *errorMsg = "El ADC no está activo, inicia con Start_ADC y vuelve a intentarlo\n";
		HAL_UART_Transmit_DMA(&huart2, (uint8_t *)errorMsg, strlen(errorMsg));
		Current_State = STATE_REFRESH;		//Volvemos al Refresh
		return;								//Se sale de la función
	}
	convertir_uint16_to_float32(ADC_Buffer, ADC_Float_Buffer, ADC_BUFFER_MAX_LENGTH);
    // --- Paso 1: Realizar la FFT ---
    // Se asume que el buffer del ADC está listo
    arm_rfft_fast_f32(
        &rfft_instance,       	// Puntero a la instancia que se inicializó
		ADC_Float_Buffer,     	// Puntero a los datos de valor real del ADC
		FFT_Buffer,    			// Puntero al buffer donde se guardan los datos de la FFT
        0                     	// '0' para FFT, '1' para FFT Inversa (IFFT)
    );

    // --- Paso 2: Calcular la magnitud ---
    // The RFFT output is in a packed complex format. This function "unpacks" it
    // and calculates the magnitude of each complex frequency bin.
    // Magnitude = sqrt(real^2 + imag^2)
    arm_cmplx_mag_f32(
    	FFT_Buffer,    			// Puntero con la información de la FFT
		FFT_Magnitudes,       	// PUntero destino a donde se guardan las magnitudes de la FFT
        fft_Length / 2          	// Solo se computan las primeras N/2 magnitudes, los datos relevantes
    );

    // --- Done! ---
    // The 'fft_magnitudes' array now holds the spectrum of your signal.
    // fft_magnitudes[0] = Magnitude of the DC component (0 Hz)
    // fft_magnitudes[1] = Magnitude of the first frequency bin
    // ...
    // fft_magnitudes[511] = Magnitude of the last useful frequency bin
}

void print_fft_features(void){
	/*
	 * Esta función imprime los valores importantes de la FFT
	 */
	perform_fft();	//Realizamos una transformada de Fourier
	float32_t magnitud_predominante;
	uint32_t  magnitud_predominante_index;
	HAL_StatusTypeDef status;
	float tasa_muestreo = 44100;
	if(ARR_timer_4 == MEDIUM){
		tasa_muestreo = 48000;
	}else if(ARR_timer_4 == HIGH){
		tasa_muestreo = 96000;
	}else if(ARR_timer_4 == ULTRA){
		tasa_muestreo = 128000;
	}
	// --- Paso 1: Hallar el componente con el valor más alto ---
	// Se busca desde el índice 1 porque el 0 es la componente DC).
	arm_max_f32(
			&FFT_Magnitudes[1],     		// Iniciamos desde el elemento 1
			(fft_Length / 2) - 1,     		// Número de los elementos que se van a buscar, se asume que son la mitad
			&magnitud_predominante,         // Esta variable contiene la magnitud más grande encontrada
			&magnitud_predominante_index    // Y esta el índice respectivo
	);

	// Ajuste del índice, pues este debe ser absoluto
	magnitud_predominante_index = magnitud_predominante_index + 1;

	// Paso 2: Convertir el índice a un valor de frecuencia real
	float32_t frequency_resolution = tasa_muestreo / (fft_Length);
	float32_t dominant_frequency = magnitud_predominante_index * frequency_resolution;

	// --- Step 3: Formatear aduacadamente la salida ---
	// Formatear la frecuencia en String
	char tx_buffer[80];
	sprintf(tx_buffer, "Frecuencia Dominante:     %.2f Hz\r\n", dominant_frequency);

	// --- Paso 4: Transmitir la frecuencia ya formateada  ---
	status = HAL_UART_Transmit(
			&huart2,                     // Pointer to the UART handle
			(uint8_t*)tx_buffer,         // Pointer to the data buffer (must be cast to uint8_t*)
			strlen(tx_buffer),           // Number of bytes to send
			100
	);

	// Format the magnitude string
	sprintf(tx_buffer, "Magnitud Freq Dominante:  %.2f\r\n", magnitud_predominante);
	sprintf(tx_buffer, "Bin Freq Dominante:       %lu\r\n", magnitud_predominante_index);
	// Transmit the second string
	status = HAL_UART_Transmit(&huart2, (uint8_t*)tx_buffer, strlen(tx_buffer),100);

	// --- Paso 5: Hallemos el componente DC de la señal, para esto, se debe aplicar el factor de
	// Escala adecuado, pues F(x) = 1/N SUM(n=0, n=N-1, x[n]), por lo tanto, este factor
	// Es simplemente el número de muestras 1/N
	float componente_DC = 3.3f * FFT_Magnitudes[0] / fft_Length;
	// Lo formateamos:
	sprintf(tx_buffer, "Componente DC:            %.2f V\r\n", componente_DC);
	//Transmitimos
	status = HAL_UART_Transmit(&huart2, (uint8_t*)tx_buffer, strlen(tx_buffer),100);

	float valor_RMS = 0;
	// Hallamos el valor RMS de la señal
	convertir_uint16_to_float32(ADC_Buffer, ADC_Float_Buffer, ADC_BUFFER_MAX_LENGTH);
	arm_rms_f32(ADC_Float_Buffer, ADC_BUFFER_MAX_LENGTH, &valor_RMS);	//El tercer argumento debe ser un puntero que apunta a una variable tipo float, se obtiene el valor RMS de la señal
	valor_RMS = valor_RMS * 3.3;	//Originilamente el ADC_Float_Buffer está normalizado entre 0 y 1, lo multiplicamos por 3.3V para hallar la potencia adecuadamente
	float potencia_promedio = valor_RMS * valor_RMS;	//La potencia de la señal es su valor RMS al cuadrado
	// Lo formateamos:
	sprintf(tx_buffer, "Potencia Promedio:        %.2f W\r\n", potencia_promedio);
	//Transmitimos
	status = HAL_UART_Transmit(&huart2, (uint8_t*)tx_buffer, strlen(tx_buffer),100);

	if (status != HAL_OK) {
		// Transmission error
	}

	Current_State = STATE_REFRESH;
}

uint8_t uint16_es_potencia_de_2(uint16_t numero){
	//Si es potencia de 2, entonces solo debe haber un bit encendido en el número
	if((numero & (numero-1)) == 0){
		//Se trata de una potencia de 2
		return 0;
	}
	return 1;
}

void cfg_size_fft(const char *argumento){
	/*
	 * Esta función configura el tamaño de la FFT
	 */
	uint16_t aux_verificacion = 0;
	uint16_t fft_new_Length = atoi(argumento);
	aux_verificacion = uint16_es_potencia_de_2(fft_new_Length);
	if(aux_verificacion || (fft_new_Length < 16) || (fft_new_Length > ADC_BUFFER_MAX_LENGTH)){
		//No pasa la verificación, no se modifica nada
		const char *errorMsg = "Valor no adecuado para la FFT, deben ser potencias de 2 desde 16 hasta 2048\n";
		HAL_UART_Transmit_DMA(&huart2, (uint8_t *) errorMsg, strlen(errorMsg));
		Current_State = STATE_REFRESH;
		return;
	}
	//En caso contrario, procedemos a modificar el valor de la FFT
	fft_Length = fft_new_Length;	//Asignamos el nuevor valor a la FFT
	longitud_ADC = fft_Length;
	arm_rfft_fast_init_f32(&rfft_instance, fft_Length);
	const char *doneMsg = "Tamaño de FFT actualizado correctamente\n";
	HAL_UART_Transmit_DMA(&huart2, (uint8_t *) doneMsg, strlen(doneMsg));
	Current_State = STATE_REFRESH;
}

void print_fft(void){
	/*
	 * Esta función imprime el espectro de la FFT
	 */
	//Primero transformamos los datos a float del buffer ADC
	perform_fft();

	char aux_buffer [8192];	//Buffer temporal
	uint16_t offset = 0;	//Variable para saber en qué parte del buffer poner los datos

	for(uint16_t i = 0; i < (fft_Length / 2) ; i++){
		int aux = sprintf(&aux_buffer[offset], "%.3f\r\n", FFT_Magnitudes[i]);
		offset+=aux;	//Aumentamos lo que escribimos
		//Marranada para que funcione mejor
		Current_State = STATE_REFRESH;
		FSM_update(Current_State);
	}
	FSM_update(Current_State);	//Otra marranada
	HAL_UART_Transmit_DMA(&huart2, (uint8_t *)aux_buffer, offset );	//A enviar la data de la FFT
}

void unknown(void){
	const char *error_msg = "Comando no reconocido. Escriba 'help' para ver las opciones disponibles.\n";
	HAL_UART_Transmit_DMA(&huart2, (uint8_t *)error_msg, strlen(error_msg));
	Current_State = STATE_REFRESH;
}

ID_Comando encontrar_id_comando(const char* str_comando){
    for (int i = 0; i < NUM_COMANDOS; i++) {
        if (strcmp(str_comando, comandos[i].command_str) == 0) {
            return comandos[i].id_comando;
        }
    }
    return CMD_ID_UNKNOWN;
}

void despachar_comando(char *line){
	/*
	 * Esta función despacha el comando recibido por el USART
	 * Se van a separar los comandos y argumentos
	 * de la línea recibida por el USART
	 */

	//Empezamos por eliminar los caracteres de nueva línea y retorno de carro \r
	for (int i = 0; i < rx_size; i++) {
	    if (line[i] == '\r' || line[i] == '\n') {
	    	line[i] = '\0';
	        break;
	    }
	}

	char *argumento = strchr(line, ' '); //Se separa el parámetro del resto de la línea
	 if (argumento) {
	        *argumento = '\0';  // separamos con null terminator
	        argumento++;        // ahora argumento apunta al primer argumento
	    } else {
	        argumento = "";     // sin argumentos
	    }

	 ID_Comando id = encontrar_id_comando(line);
	 switch (id){
	 	 case CMD_ID_printhelp: 			printhelp(); 						break;
	 	 case CMD_ID_rgb_modify:			rgb_modify(argumento); 				break;
	 	 case CMD_ID_config_blinky:			config_blinky(argumento);			break;
	 	 case CMD_ID_cfg_adc_sampling_freq: cfg_adc_sampling_freq(argumento);	break;
	 	 case CMD_ID_cfg_size_fft:			cfg_size_fft(argumento);			break;
	 	 case CMD_ID_print_adc:				print_adc();						break;
	 	 case CMD_ID_print_fft:				print_fft();						break;
	 	 case CMD_ID_print_config:			print_config();						break;
	 	 case CMD_ID_print_fft_features:	print_fft_features();				break;
	 	 case CMD_ID_start_adc:				start_adc();						break;
	 	 case CMD_ID_stop_adc:				stop_adc();							break;
	 	 case CMD_ID_UNKNOWN:				unknown();							break;
	 }
}

void FSM_update(State_t State){
	switch (State){
		case STATE_REFRESH:{
			if(digito > 3){	//Si se quiere prender el digito 4 (No existe) se devuelve al digito 0
				digito = 0;
			}
			displaySieteSegmentos(digito);	//Se muestran los digitos con el efecto visual deseado
			break;
		}case STATE_RGB_FEEDBACK :{
			//Este condicional es para poder repetir el ciclo dentro del ENUM indefinidamente
			actualizar_RGB(Current_Color); //Se actualiza el color del LED RGB
			Current_State = STATE_REFRESH;//Se cambia al estado IDLE para que se muestre los números del contador
			break;
		}case STATE_TAXIMETER_FEEDBACK :{
			//Primero se identifica el sentido de giro del encoder,
			//Sumando o restando en cada caso
			if (HAL_GPIO_ReadPin(Data_Encoder_GPIO_Port, Data_Encoder_Pin) == GPIO_PIN_RESET){	//Se lee el pin Data del Encoder
				contador_Taximetro++;
			}else{
				contador_Taximetro--;
			}
			//Luego se evita que el contador pase de 0 a 0xFFFF, pasándolo a 0xFFF, pues queremos simular una variable de 12 bits
			if(contador_Taximetro > 4096){
				contador_Taximetro = 4095;
			}else if(contador_Taximetro > 4095){ //También se debe desbordar de 0xFFF a 0 en lugar de seguir subiendo
				contador_Taximetro = 0;
			}
			separarContador();	//Se separan los miles, centenas, decenas, unidades del nuevo número en el contador para
								//Mostrarlos posteriormente
			Current_State = STATE_REFRESH;//Se cambia al estado IDLE para que se muestre los números del contador
			break;
		}case STATE_CHANGE_REFRESH :{
			HAL_TIM_Base_Stop_IT(&htim3); 					//Se apaga el Timer 3 para configurarlo
			if((htim3.Init.Period >= 4) & (htim3.Init.Period <= 1000)){  					//Se verifica si el valor que entra es válido
				//En el caso de que sí, entonces:
				HAL_TIM_Base_Init(&htim3);					//La variable ya fue modificada y se carga a la configuración del timer
				HAL_TIM_Base_Start_IT(&htim3);
				Current_State = STATE_REFRESH;				//Volvemos al estado de Refresh ahora con una velocidad más rápida
			}else{											//El decremento es inválido
				htim3.Init.Period = 4;						// El periodo del timer vuelve a su valor de 5ms
				HAL_TIM_Base_Start_IT(&htim3);				//Se vuelve a encender el Timer
			    Current_State = STATE_REFRESH;				//Se vuelve al estado de REFRESCO
			}
			break;
		}case STATE_TERMINAL_FEEDBACK :{
			despachar_comando((char *) rx_buffer); //Se despacha el comando recibido por el terminal
			break;
		}
	}
}

void HAL_TIM_PeriodElapsedCallback(TIM_HandleTypeDef *htim){
	if(htim->Instance == TIM2){
		HAL_GPIO_TogglePin(UserLed_GPIO_Port, UserLed_Pin); // UserLed parpadea cada 250ms
	}else if(htim->Instance == TIM3){
		digito++; // Se incrementa el dígito cada 5ms
	}
}

void HAL_GPIO_EXTI_Callback(uint16_t GPIO_Pin){
	if(GPIO_Pin == Switch_Encoder_Pin){ // Botón del encoder
		// Se cambia el color del LED RGB al siguiente en la secuencia, si llega al final, vuelve a apagado
		secuencia_Color = (secuencia_Color + 1) % 8; // Se incrementa el color en la secuencia, y se vuelve a 0 al llegar al final
		Current_Color = secuencia_RGB[secuencia_Color]; // Se asigna el siguiente color de la secuencia al LED RGB
		Current_State = STATE_RGB_FEEDBACK;				//Se cambia al estado RGB
	}else if(GPIO_Pin == Clk_Encoder_Pin){
		Current_State = STATE_TAXIMETER_FEEDBACK; //Se identifica un flanco de subida en el clock y se pasa rápidamente al estado que cambia el número del taxímetro
	}else if(GPIO_Pin == BotonTasaRefrescoDecremento_Pin){
		htim3.Init.Period	+= 10; 	//Modificamos el valor del periodo del timer, aumentando la velocidad
		Current_State = STATE_CHANGE_REFRESH;
	}else if(GPIO_Pin == BotonTasaRefrescoIncremento_Pin){
		htim3.Init.Period	-= 10; 	//Modificamos el valor del periodo del timer, disminuyendo la velocidad
		Current_State = STATE_CHANGE_REFRESH;

	}
}

//Callback del USART Idle para no tener que saber el tamaño del mensaje
void HAL_UARTEx_RxEventCallback(UART_HandleTypeDef *huart, uint16_t Size){
	if (huart->Instance == USART2) {
		if (buffer_activo_DMA == BUFFER_A){
			// Señal de que el Buffer A está listo
			paquete_listo.buffer  = rx_Buffer_A;
			paquete_listo.size = Size;
			// Inmediatamente cambiamos el DMA al buffer B
			buffer_activo_DMA = BUFFER_B;
			HAL_UARTEx_ReceiveToIdle_DMA(&huart2, rx_Buffer_B, rx_buffer_length); // Configura la recepción DMA con IDLE
		}else {
			// Señal de que el Buffer B está listo
			paquete_listo.buffer = rx_Buffer_B;
			paquete_listo.size = Size;
			// Inmediatamente cambiamos el DMA al buffer
			buffer_activo_DMA = BUFFER_A;
			HAL_UARTEx_ReceiveToIdle_DMA(&huart2, rx_Buffer_A, rx_buffer_length); // Configura la recepción DMA con IDLE
		}
		Current_State = STATE_TERMINAL_FEEDBACK;
		}
}

/* USER CODE END 4 */

void Error_Handler(void)
{
  __disable_irq();
  while (1)
  {
  }
}
